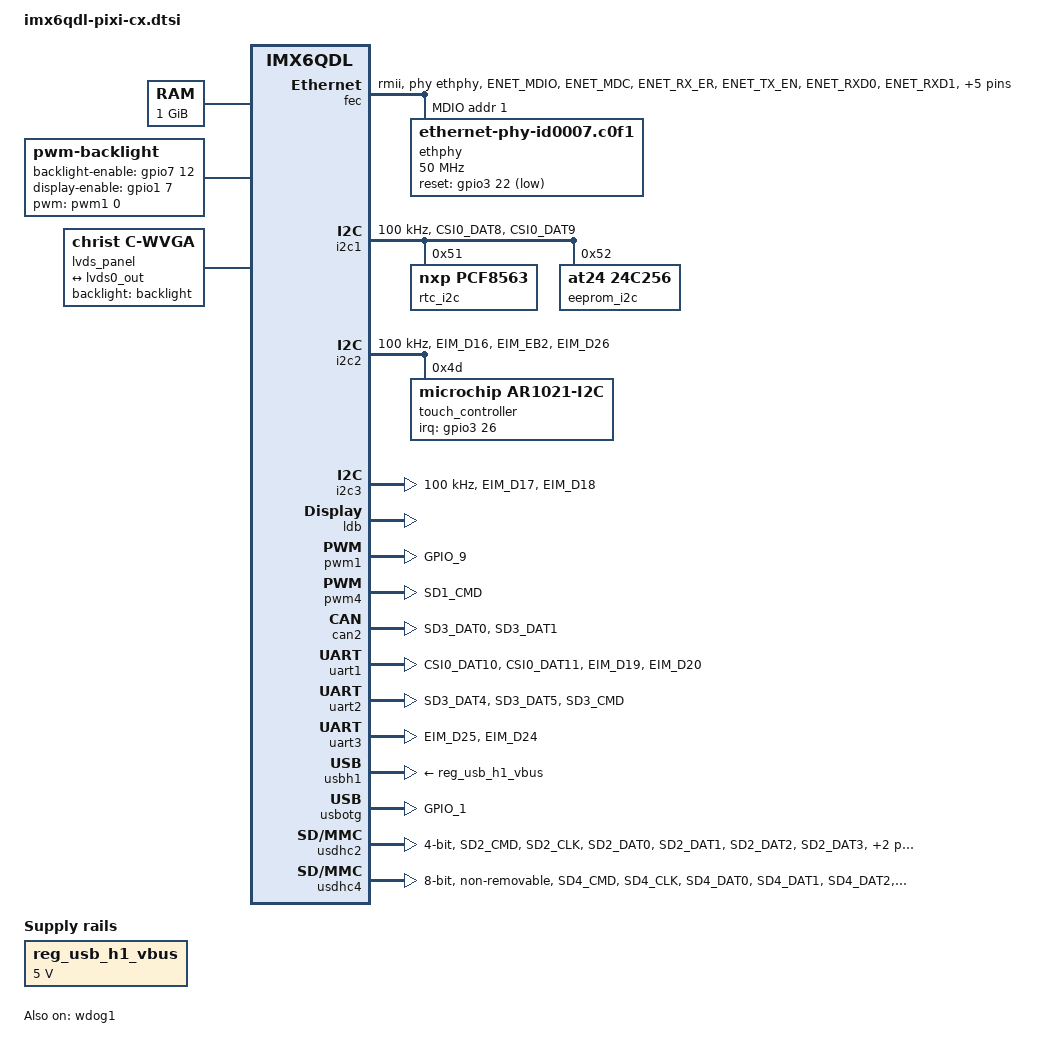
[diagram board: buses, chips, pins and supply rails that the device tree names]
// SPDX-License-Identifier: GPL-2.0+
/*
 * Copyright (C) 2018 Christ Electronic Systems GmbH
 * Peter Fink <pfink@christ-es.de>
 * Copyright 2012-2015 Freescale Semiconductor, Inc.
 * Copyright 2011 Linaro Ltd.
 *
 * The code contained herein is licensed under the GNU General Public
 * License. You may obtain a copy of the GNU General Public License
 * Version 2 or later at the following locations:
 *
 * http://www.opensource.org/licenses/gpl-license.html
 * http://www.gnu.org/copyleft/gpl.html
 */

#include <dt-bindings/clock/imx6qdl-clock.h>
#include <dt-bindings/gpio/gpio.h>
#include <dt-bindings/input/input.h>

/ {

	aliases {
		backlight_lvds = &backlight;
		fb_lvds = &lvds_panel;
		t_lvds = "/panel/panel-timing";
		ldb = &ldb;
	};

	chosen {
		stdout-path = &uart1;
	};

	memory@10000000 {
		reg = <0x10000000 0x40000000>;
	};

	regulators {
		compatible = "simple-bus";
		#address-cells = <1>;
		#size-cells = <0>;

		reg_usb_h1_vbus: regulator@1 {
			compatible = "regulator-fixed";
			regulator-name = "usb_h1_vbus";
			regulator-min-microvolt = <5000000>;
			regulator-max-microvolt = <5000000>;
			status = "okay";
			regulator-always-on;
		};
	};

	backlight: backlight {
		compatible = "pwm-backlight";
		pwms = <&pwm1 0 5000000>;
		brightness-levels = <0 4 8 16 32 64 128 255>;
		default-brightness-level = <7>;
		pinctrl-0 = <&pinctrl_bkl>;
		backlight-enable-gpios = <&gpio7 12 0>;
		display-enable-gpios = <&gpio1 7 0>;
		pwm-on-delay-ms = <150>;
		pwm-off-delay-ms = <50>;
		status = "okay";
	};

	lvds_panel: panel {
		compatible = "christ,c-wvga", "panel-lvds";
		backlight = <&backlight>;

		width-mm = <152>;
		height-mm = <91>;

		data-mapping = "jeida-18";

		panel-timing {
			/* 800x480 @59Hz */
			clock-frequency = <59476342>;
			hactive = <800>;
			vactive = <480>;
			hsync-len = <72>;
			hfront-porch = <24>;
			hback-porch = <96>;
			vsync-len = <7>;
			vfront-porch = <10>;
			vback-porch = <15>;

		};

		port {
			panel_in: endpoint {
				remote-endpoint = <&lvds0_out>;
			};
		};
	};
};

&clks {
	assigned-clocks = <&clks IMX6QDL_CLK_LDB_DI0_SEL>,
			  <&clks IMX6QDL_CLK_LDB_DI1_SEL>;
	assigned-clock-parents = <&clks IMX6QDL_CLK_PLL5_VIDEO>,
				 <&clks IMX6QDL_CLK_PLL5_VIDEO>;
};

&fec {
	pinctrl-names = "default";
	pinctrl-0 = <&pinctrl_enet>;
	phy-mode = "rmii";
	interrupts-extended = <&gpio1 6 IRQ_TYPE_LEVEL_HIGH>,
			      <&intc 0 119 IRQ_TYPE_LEVEL_HIGH>;
	fsl,err006687-workaround-present;
	phy-handle = <&ethphy>;
	status = "okay";

	mdio {
		#address-cells = <1>;
		#size-cells = <0>;

		ethphy: ethernet-phy@1 {
			compatible = "ethernet-phy-id0007.c0f1", "ethernet-phy-ieee802.3-c22";
			smsc,disable-energy-detect;
			reg = <1>;
			max-speed = <100>;
			clock-frequency = <50000000>;
			pinctrl-names = "default";
			pinctrl-0 = <&pinctrl_ethphy>;
			reset-gpios = <&gpio3 22 GPIO_ACTIVE_LOW>;
			reset-assert-us = <120>;
			reset-deassert-us = <120>;
		};
	};
};

&i2c1 {
	clock-frequency = <100000>;
	pinctrl-names = "default";
	pinctrl-0 = <&pinctrl_i2c1>;
	status = "okay";

	rtc_i2c: rtc@51 {
		compatible = "nxp,pcf8563";
		reg = <0x51>;
		#clock-cells = <0>;
	};

	eeprom_i2c: at24@52 {
		compatible = "at24,24c256";
		pagesize = <32>;
		reg = <0x52>;
	};

};

&i2c2 {
	clock-frequency = <100000>;
	pinctrl-names = "default";
	pinctrl-0 = <&pinctrl_i2c2>;
	status = "okay";

	touch_controller: ar1021@4d {
		compatible = "microchip,ar1021-i2c";
		reg = <0x4d>;
		interrupt-parent = <&gpio3>;
		interrupts = <26 IRQ_TYPE_LEVEL_HIGH>;
	};
};

&i2c3 {
	clock-frequency = <100000>;
	pinctrl-names = "default";
	pinctrl-0 = <&pinctrl_i2c3>;
	status = "okay";
};

&iomuxc {
	pinctrl-names = "default";
	pinctrl-0 = <&pinctrl_gpio1>;

	imx6qdl-pixi {
		pinctrl_enet: enetgrp {
			fsl,pins = <
				MX6QDL_PAD_ENET_MDIO__ENET_MDIO		0x1b0b0
				MX6QDL_PAD_ENET_MDC__ENET_MDC		0x1b0b0
				MX6QDL_PAD_ENET_RX_ER__ENET_RX_ER	0x1b0b0
				MX6QDL_PAD_ENET_TX_EN__ENET_TX_EN	0x1b0b0
				MX6QDL_PAD_ENET_RXD0__ENET_RX_DATA0	0x1b0b0
				MX6QDL_PAD_ENET_RXD1__ENET_RX_DATA1	0x1b0b0
				MX6QDL_PAD_ENET_TXD0__ENET_TX_DATA0	0x1b0b0
				MX6QDL_PAD_ENET_TXD1__ENET_TX_DATA1	0x1b0b0
				MX6QDL_PAD_GPIO_16__ENET_REF_CLK	0x4001b0a8
				MX6QDL_PAD_ENET_CRS_DV__ENET_RX_EN	0x1b0b0
				MX6QDL_PAD_GPIO_6__ENET_IRQ		0x000b1 /* workaround for err006687 */
			>;
		};

		pinctrl_ethphy: ethphygrp {
			fsl,pins = <
				MX6QDL_PAD_EIM_D22__GPIO3_IO22          0x1b0b0 /* LAN8720 nRST */
			>;
		};

		pinctrl_bkl: gpio_bkl {
			fsl,pins = <
				MX6QDL_PAD_GPIO_17__GPIO7_IO12		0x130b0 /* PD */
				MX6QDL_PAD_GPIO_7__GPIO1_IO07		0x130b0 /* PD */
			>;
		};

		pinctrl_i2c1: i2c1grp {
			fsl,pins = <
				MX6QDL_PAD_CSI0_DAT8__I2C1_SDA		0x4001b8b1
				MX6QDL_PAD_CSI0_DAT9__I2C1_SCL		0x4001b8b1
			>;
		};

		pinctrl_i2c2: i2c2grp {
			fsl,pins = <
				MX6QDL_PAD_EIM_D16__I2C2_SDA		0x4001b8b1
				MX6QDL_PAD_EIM_EB2__I2C2_SCL		0x4001b8b1
				MX6QDL_PAD_EIM_D26__GPIO3_IO26		0x130b0 /* AR1021 INT */
			>;
		};

		pinctrl_i2c3: i2c3grp {
			fsl,pins = <
				MX6QDL_PAD_EIM_D17__I2C3_SCL		0x4001b8b1
				MX6QDL_PAD_EIM_D18__I2C3_SDA		0x4001b8b1
			>;
		};

		pinctrl_pwm1: pwm1grp {
			fsl,pins = <
				MX6QDL_PAD_GPIO_9__PWM1_OUT		0x1b0b1
			>;
		};

		pinctrl_pwm4: pwm4grp {
			fsl,pins = <
				MX6QDL_PAD_SD1_CMD__PWM4_OUT		0x1b0b1
			>;
		};

		pinctrl_uart1: uart1grp {
			fsl,pins = <
				MX6QDL_PAD_CSI0_DAT10__UART1_TX_DATA	0x1b0b1
				MX6QDL_PAD_CSI0_DAT11__UART1_RX_DATA	0x1b0b1
				MX6QDL_PAD_EIM_D19__UART1_CTS_B		0x1b0b1
				MX6QDL_PAD_EIM_D20__UART1_RTS_B		0x1b0b1
			>;
		};

		pinctrl_uart2: uart2grp {
			fsl,pins = <
				MX6QDL_PAD_SD3_DAT4__UART2_RX_DATA	0x1b0b1
				MX6QDL_PAD_SD3_DAT5__UART2_TX_DATA	0x1b0b1
				MX6QDL_PAD_SD3_CMD__UART2_CTS_B		0x1b0b1
			>;
		};

		pinctrl_uart3: uart3grp {
			fsl,pins = <
				MX6QDL_PAD_EIM_D25__UART3_RX_DATA	0x1b0b1
				MX6QDL_PAD_EIM_D24__UART3_TX_DATA	0x1b0b1
			>;
		};

		pinctrl_usbotg: usbotggrp {
			fsl,pins = <
				MX6QDL_PAD_GPIO_1__USB_OTG_ID		0x17059
			>;
		};

		pinctrl_usdhc2: usdhc2grp {
			fsl,pins = <
				MX6QDL_PAD_SD2_CMD__SD2_CMD		0x17059
				MX6QDL_PAD_SD2_CLK__SD2_CLK		0x10059
				MX6QDL_PAD_SD2_DAT0__SD2_DATA0		0x17059
				MX6QDL_PAD_SD2_DAT1__SD2_DATA1		0x17059
				MX6QDL_PAD_SD2_DAT2__SD2_DATA2		0x17059
				MX6QDL_PAD_SD2_DAT3__SD2_DATA3		0x17059
				MX6QDL_PAD_NANDF_D2__GPIO2_IO02		0x1b0b0 /* card detect */
			>;
		};

		pinctrl_usdhc4: usdhc4grp {
			fsl,pins = <
				MX6QDL_PAD_SD4_CMD__SD4_CMD		0x17059
				MX6QDL_PAD_SD4_CLK__SD4_CLK		0x10059
				MX6QDL_PAD_SD4_DAT0__SD4_DATA0		0x17059
				MX6QDL_PAD_SD4_DAT1__SD4_DATA1		0x17059
				MX6QDL_PAD_SD4_DAT2__SD4_DATA2		0x17059
				MX6QDL_PAD_SD4_DAT3__SD4_DATA3		0x17059
				MX6QDL_PAD_SD4_DAT4__SD4_DATA4		0x17059
				MX6QDL_PAD_SD4_DAT5__SD4_DATA5		0x17059
				MX6QDL_PAD_SD4_DAT6__SD4_DATA6		0x17059
				MX6QDL_PAD_SD4_DAT7__SD4_DATA7		0x17059
				MX6QDL_PAD_NANDF_ALE__SD4_RESET		0x17059
			>;
		};

		pinctrl_flexcan2: can2grp {
			fsl,pins = <
				MX6QDL_PAD_SD3_DAT0__FLEXCAN2_TX	0x1b0b0
				MX6QDL_PAD_SD3_DAT1__FLEXCAN2_RX	0x1b0b0
			>;
		};

		pinctrl_gpio1: gpio1grp {
			fsl,pins = <
				MX6QDL_PAD_DISP0_DAT11__GPIO5_IO05	0x130b0 /* DOUT1 */
				MX6QDL_PAD_DISP0_DAT12__GPIO5_IO06	0x130b0 /* DOUT2 */
				MX6QDL_PAD_EIM_DA5__GPIO3_IO05		0x1b0b0 /* DIGIN1 */
				MX6QDL_PAD_EIM_DA6__GPIO3_IO06		0x1b0b0 /* DIGIN2 */
				MX6QDL_PAD_EIM_DA7__GPIO3_IO07		0x1b0b0 /* DIGIN3 */
				MX6QDL_PAD_EIM_DA8__GPIO3_IO08		0x1b0b0 /* DIGIN4 */
			>;
		};
	};
};

&ldb {
	status = "okay";

	lvds-channel@0 {
		fsl,data-mapping = "spwg";
		fsl,data-width = <18>;
		status = "okay";

		port@4 {
			reg = <4>;

			lvds0_out: endpoint {
				remote-endpoint = <&panel_in>;
			};
		};
	};
};

&pwm1 {
	pinctrl-names = "default";
	pinctrl-0 = <&pinctrl_pwm1>;
	status = "okay";
};

&pwm4 {
	pinctrl-names = "default";
	pinctrl-0 = <&pinctrl_pwm4>;
	status = "okay";
};

&snvs_poweroff {
	status = "okay";
};

&snvs {
	snvs-pwrkey@020cc000 {
		compatible = "fsl,sec-v4.0-pwrkey";
		regmap = <&snvs>;
		interrupts = <GIC_SPI 4 IRQ_TYPE_LEVEL_HIGH>;
		linux,keycode = <KEY_POWER>;
		wakeup-source;
		status = "okay";
	};
};

&can2 {
	pinctrl-names = "default";
	pinctrl-0 = <&pinctrl_flexcan2>;
	status = "okay";
};

&uart1 {
	pinctrl-names = "default";
	pinctrl-0 = <&pinctrl_uart1>;
	dma-names = "", "";
	status = "okay";
};

&uart2 {
	pinctrl-names = "default";
	pinctrl-0 = <&pinctrl_uart2>;
	status = "okay";
};

&uart3 {
	pinctrl-names = "default";
	pinctrl-0 = <&pinctrl_uart3>;
	status = "okay";
};

&usbh1 {
	vbus-supply = <&reg_usb_h1_vbus>;
	status = "okay";
};

&usbotg {
//	vbus-supply = <&reg_usb_otg_vbus>;
	pinctrl-names = "default";
	pinctrl-0 = <&pinctrl_usbotg>;
	disable-over-current;
	srp-disable;
	hnp-disable;
	adp-disable;
	status = "okay";
};

&usdhc2 {
	pinctrl-names = "default";
	pinctrl-0 = <&pinctrl_usdhc2>;
	bus-width = <4>;
	cd-gpios = <&gpio2 2 GPIO_ACTIVE_LOW>;
	no-1-8-v;
	status = "okay";
};

&usdhc4 {
	pinctrl-names = "default";
	pinctrl-0 = <&pinctrl_usdhc4>;
	bus-width = <8>;
	non-removable;
	no-1-8-v;
	keep-power-in-suspend;
	status = "okay";
};

&wdog1 {
	status = "okay";
};

&wdog2 {
	status = "disabled";
};
